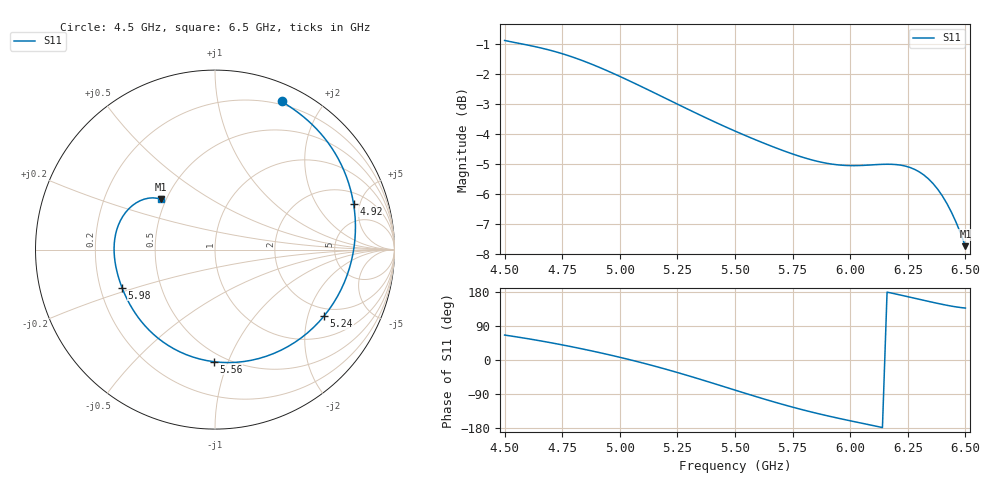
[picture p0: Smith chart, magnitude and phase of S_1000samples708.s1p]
! TOUCHSTONE file generated by CST MICROWAVE STUDIO
! Date and time: Sat Oct 29 02:43:07 2022
! Project name: L.cst
! Parameters = {Di=1.27; Epsilon_r=1.56; InnerDiameter=1.27; Length=2; Lf=10; Lg=60; OuterConductorThickness=0.2921; OuterDiameter=3.6; Wf=3; Wp=41.2; de=1.5; df=6.8; g=0.8; gx=1.62237; gy=0.420574; h=2.34; hf=1.524; px=9.27939; py=8.89525; w=9.7; wx=7.65703; wy=8.47467}
! Header version: 2018
! Port assignment regex: !\s*Touchstone port\s*([0-9]+)\s*=\s*(CST MWS port|CST DS port)\s*([0-9]+|Zmin|Zmax)\s*\(\"(.*)\"\)(\s*mode\s*([0-9]+))?.*
! Touchstone port assignment:
! Touchstone port 1 = CST MWS port 1 ("")
# GHz S DB R 50
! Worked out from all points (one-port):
!   101 points, 4.5 GHz to 6.5 GHz, reference 50 ohm
!   lowest |S11| = -7.7 dB at 6.5 GHz (marker M1), VSWR 2.39, Z = 23.5 + j15.8 ohm
!   |S11| at or under -10 dB: nowhere
!   S11 on the Smith chart (normalised r, x): 4.5 GHz: 0.17, +1.53; 4.92 GHz: 2.88, +4.35; 5.24 GHz: 1.70, -2.55; 5.56 GHz: 0.43, -0.89; 5.98 GHz: 0.29, -0.18; 6.5 GHz: 0.47, +0.32
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4.5  -0.87 65.8
4.64  -1.09 52.2
4.76  -1.33 38.7
4.84  -1.55 28.9
4.92  -1.79 18.4
5  -2.07 7.1
5.06  -2.28 -1.8
5.12  -2.50 -11.2
5.18  -2.73 -21.0
5.24  -2.96 -31.3
5.26  -3.03 -34.8
5.32  -3.25 -45.6
5.38  -3.47 -56.7
5.44  -3.69 -68.1
5.5  -3.89 -79.4
5.56  -4.09 -90.7
5.66  -4.40 -109.0
5.76  -4.68 -126.0
5.86  -4.91 -141.4
5.98  -5.04 -157.8
6  -5.05 -160.4
6.14  -5.00 -178.3
6.2  -5.01 173.8
6.26  -5.11 165.7
6.34  -5.49 154.7
6.4  -6.06 146.8
6.46  -6.95 140.1
6.5  -7.74 137.0
